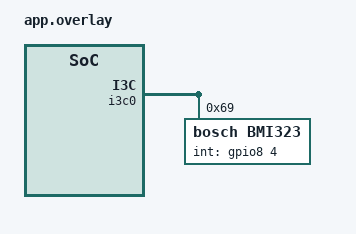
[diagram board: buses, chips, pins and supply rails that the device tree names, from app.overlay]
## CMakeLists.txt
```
# Copyright (c) 2026 Samuel (Shu-Ming) Liu
# SPDX-License-Identifier: Apache-2.0

cmake_minimum_required(VERSION 3.20.0)

find_package(Zephyr REQUIRED HINTS $ENV{ZEPHYR_BASE})
project(sensor_imu)

target_sources(app PRIVATE src/main.c)
```

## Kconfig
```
# Copyright (c) 2026 Samuel (Shu-Ming) Liu
# SPDX-License-Identifier: Apache-2.0

mainmenu "Alif Ensemble E8 - 08 Sensor IMU (BMI323 over I3C)"

config HAS_SEGGER_RTT
	default y

source "Kconfig.zephyr"
```

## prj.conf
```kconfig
# Copyright (c) 2026 Samuel (Shu-Ming) Liu
# SPDX-License-Identifier: Apache-2.0

# System & Stack
CONFIG_MAIN_STACK_SIZE=4096
CONFIG_SYSTEM_WORKQUEUE_STACK_SIZE=2048

# SEGGER RTT Real-Time Console (Zero-Latency SW4=UART2 Switchless)
CONFIG_PRINTK=y
CONFIG_SERIAL=y
CONFIG_CONSOLE=y
CONFIG_USE_SEGGER_RTT=y
CONFIG_RTT_CONSOLE=y
CONFIG_UART_CONSOLE=n
CONFIG_STDOUT_CONSOLE=y

# Guard: Disable Ethos-U NPU to prevent undefined log level errors
CONFIG_ARM_ETHOS_U=n

# Floating Point Unit & Math Support
CONFIG_FPU=y
CONFIG_CBPRINTF_FP_SUPPORT=y

# GPIO for RGB LED Telemetry
CONFIG_GPIO=y
CONFIG_CLOCK_CONTROL=y

# I3C Controller & Bosch BMI323 6-Axis IMU Driver
CONFIG_I3C=y
CONFIG_I3C_INIT_RSTACT=y
CONFIG_I3C_USE_IBI=n
CONFIG_SENSOR=y
```

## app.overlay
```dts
/*
 * Copyright (c) 2026 Samuel (Shu-Ming) Liu
 * SPDX-License-Identifier: Apache-2.0
 *
 * Devicetree overlay for Bosch BMI323 6-Axis IMU on Alif Ensemble E8 DevKit
 */

#include <zephyr/dt-bindings/pinctrl/ensemble-pinctrl.h>

&i3c0 {
	status = "okay";

	bmi323: bmi323@69000003b810431000 {
		compatible = "bosch,bmi323";
		reg = <0x69 0x03b8 0x10431000>;
		/* Dynamic Address To Be Assigned To The Device */
		assigned-address = <0xA>;
		int-gpios = <&gpio8 4 GPIO_ACTIVE_HIGH>;
		status = "okay";
	};
};

&pinctrl_gpio8 {
	group0 {
		/* Enable Port-8 Pin-4 for BMI323 INT */
		pinmux = <PIN_P8_4__GPIO>;
	};
};

&gpio8 {
	pinctrl-0 = <&pinctrl_gpio8>;
	pinctrl-names = "default";
	status = "okay";
};

/* I3C bus recovery (scl-gpios / sda-gpios on gpio7) */
&gpio7 {
	status = "okay";
};

/* Enable Port 6 for onboard RGB LED (LED1_R: P6_2, LED1_G: P6_4, LED1_B: P6_6) */
&gpio6 {
	status = "okay";
};
```

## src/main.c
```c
/*
 * Copyright (c) 2026 Samuel (Shu-Ming) Liu
 * SPDX-License-Identifier: Apache-2.0
 *
 * Example 08: Alif Ensemble E8 - Bosch BMI323 6-Axis IMU over I3C
 *
 * Features:
 *  - I3C Bus Master communication with onboard Bosch BMI323 (dynamic address 0xA)
 *  - High-speed 3-axis Accelerometer & 3-axis Gyroscope sampling (100 Hz)
 *  - Cortex-M55 FPU-accelerated 3D Attitude Estimation (Pitch & Roll)
 *  - Dynamic On-board RGB LED attitude indicator (Level=Green, Pitch=Red, Roll=Blue, Motion=Flash)
 *  - Zero-latency SEGGER RTT Console output at 0x20000410 (JTAG, 4000 kHz)
 *  - Interactive RTT keyboard commands ('c': tare/zero, 'r': reset cal, 'm': toggle mode, 'h': help)
 */

#include <stdio.h>
#include <string.h>
#include <math.h>
#include <zephyr/kernel.h>
#include <zephyr/device.h>
#include <zephyr/drivers/sensor.h>
#include <zephyr/drivers/gpio.h>
#include <SEGGER_RTT.h>

#ifndef M_PI
#define M_PI 3.14159265358979323846f
#endif

#define RAD_TO_DEG (180.0f / M_PI)

/* Onboard RGB LED (Port 6: LED1_R=Pin 2, LED1_G=Pin 4, LED1_B=Pin 6) */
#define PIN_LED_R 2
#define PIN_LED_G 4
#define PIN_LED_B 6

static const struct device *gpio6_dev = DEVICE_DT_GET(DT_NODELABEL(gpio6));
static const struct device *imu_dev   = DEVICE_DT_GET_ONE(bosch_bmi323);

/* RGB LED Helper */
static inline void set_rgb(int r, int g, int b)
{
	if (gpio6_dev && device_is_ready(gpio6_dev)) {
		gpio_pin_set(gpio6_dev, PIN_LED_R, r ? 1 : 0);
		gpio_pin_set(gpio6_dev, PIN_LED_G, g ? 1 : 0);
		gpio_pin_set(gpio6_dev, PIN_LED_B, b ? 1 : 0);
	}
}

/* Helper to convert sensor_value struct to float */
static inline float to_float(const struct sensor_value *val)
{
	return (float)val->val1 + ((float)val->val2 / 1000000.0f);
}

/* Configure BMI323 Accelerometer & Gyroscope */
static int configure_bmi323(const struct device *dev)
{
	struct sensor_value full_scale, sampling_freq, feat_mask;
	int ret;

	/* 1. Configure Accelerometer: +/- 2G, 100 Hz, High Performance */
	full_scale.val1 = 2;
	full_scale.val2 = 0;
	sampling_freq.val1 = 100;
	sampling_freq.val2 = 0;
	feat_mask.val1 = 1;
	feat_mask.val2 = 0;

	ret = sensor_attr_set(dev, SENSOR_CHAN_ACCEL_XYZ, SENSOR_ATTR_FULL_SCALE, &full_scale);
	if (ret < 0) {
		printf("Error: Failed to set Accel full scale (%d)\n", ret);
		return ret;
	}

	ret = sensor_attr_set(dev, SENSOR_CHAN_ACCEL_XYZ, SENSOR_ATTR_FEATURE_MASK, &feat_mask);
	if (ret < 0) {
		printf("Error: Failed to set Accel feature mask (%d)\n", ret);
		return ret;
	}

	ret = sensor_attr_set(dev, SENSOR_CHAN_ACCEL_XYZ, SENSOR_ATTR_SAMPLING_FREQUENCY, &sampling_freq);
	if (ret < 0) {
		printf("Error: Failed to set Accel sampling rate (%d)\n", ret);
		return ret;
	}

	/* 2. Configure Gyroscope: +/- 500 dps, 100 Hz, High Performance */
	full_scale.val1 = 500;
	full_scale.val2 = 0;
	sampling_freq.val1 = 100;
	sampling_freq.val2 = 0;
	feat_mask.val1 = 1;
	feat_mask.val2 = 0;

	ret = sensor_attr_set(dev, SENSOR_CHAN_GYRO_XYZ, SENSOR_ATTR_FULL_SCALE, &full_scale);
	if (ret < 0) {
		printf("Error: Failed to set Gyro full scale (%d)\n", ret);
		return ret;
	}

	ret = sensor_attr_set(dev, SENSOR_CHAN_GYRO_XYZ, SENSOR_ATTR_FEATURE_MASK, &feat_mask);
	if (ret < 0) {
		printf("Error: Failed to set Gyro feature mask (%d)\n", ret);
		return ret;
	}

	ret = sensor_attr_set(dev, SENSOR_CHAN_GYRO_XYZ, SENSOR_ATTR_SAMPLING_FREQUENCY, &sampling_freq);
	if (ret < 0) {
		printf("Error: Failed to set Gyro sampling rate (%d)\n", ret);
		return ret;
	}

	return 0;
}

/* Render ASCII Horizon Bar */
static void render_bar(char *buf, size_t buf_len, float angle, float max_angle, int width)
{
	int center = width / 2;
	int pos = center + (int)((angle / max_angle) * (float)center);
	if (pos < 0) pos = 0;
	if (pos >= width) pos = width - 1;

	for (int i = 0; i < width; i++) {
		if (i == pos) {
			buf[i] = '#';
		} else if (i == center) {
			buf[i] = '|';
		} else if ((pos < center && i >= pos && i < center) ||
		           (pos > center && i <= pos && i > center)) {
			buf[i] = '=';
		} else {
			buf[i] = '-';
		}
	}
	buf[width] = '\0';
}

static void print_help(void)
{
	printf("\n===============================================================\n");
	printf("   🕹️  BMI323 6-Axis IMU Interactive Keyboard Commands  🕹️\n");
	printf("===============================================================\n");
	printf("  'c' : Calibrate / Tare current attitude to (0.0°, 0.0°)\n");
	printf("  'r' : Reset attitude calibration to factory zero\n");
	printf("  'm' : Toggle display mode (Compact Stream <-> Horizon Bar)\n");
	printf("  'h' : Display this help menu\n");
	printf("===============================================================\n\n");
}

int main(void)
{
	int ret;
	uint32_t sample_count = 0;
	float pitch_offset = 0.0f;
	float roll_offset = 0.0f;
	bool visual_mode = true;
	char bar_buf[33];

	/* 1. Initialize RGB LED */
	if (gpio6_dev && device_is_ready(gpio6_dev)) {
		gpio_pin_configure(gpio6_dev, PIN_LED_R, GPIO_OUTPUT_INACTIVE);
		gpio_pin_configure(gpio6_dev, PIN_LED_G, GPIO_OUTPUT_INACTIVE);
		gpio_pin_configure(gpio6_dev, PIN_LED_B, GPIO_OUTPUT_INACTIVE);
		set_rgb(0, 0, 0);
	}

	/* Power-on indicator: 3 quick Cyan pulses */
	for (int i = 0; i < 3; i++) {
		set_rgb(0, 1, 1);
		k_msleep(80);
		set_rgb(0, 0, 0);
		k_msleep(80);
	}

	/* 2. Welcome Banner over SEGGER RTT */
	printf("\n\n===============================================================\n");
	printf("🎯 Alif Ensemble E8 - Bosch BMI323 6-Axis IMU over I3C 🎯\n");
	printf(" Target Core  : ARM Cortex-M55 (RTSS-HP @ 400 MHz)\n");
	printf(" Bus Protocol : I3C Master @ 0x49034000 (Dynamic Addr: 0x%02X)\n", 0x0A);
	printf(" RTT Buffer   : Local 0x%p\n", &_SEGGER_RTT);
	printf("===============================================================\n");

	/* 3. Check BMI323 device binding */
	if (!device_is_ready(imu_dev)) {
		printf("FATAL: Bosch BMI323 IMU device is NOT ready!\n");
		set_rgb(1, 0, 0); /* Red solid error */
		return 0;
	}
	printf("✓ BMI323 IMU device bound successfully: %s\n", imu_dev->name);

	/* 4. Configure sensor attributes */
	ret = configure_bmi323(imu_dev);
	if (ret < 0) {
		printf("FATAL: Failed to configure BMI323 attributes (%d)\n", ret);
		set_rgb(1, 0, 0);
		return 0;
	}
	printf("✓ BMI323 Accelerometer & Gyroscope initialized (100 Hz, HP mode)\n");
	print_help();

	while (1) {
		struct sensor_value acc[3], gyr[3], temp;
		int retries = 10;

		/* Check interactive keystrokes from J-Link RTT Viewer */
		if (SEGGER_RTT_HasKey()) {
			int key = SEGGER_RTT_GetKey();
			switch (key) {
			case 'c':
			case 'C': {
				/* Fetch fresh sample to calculate tare offset */
				sensor_sample_fetch(imu_dev);
				sensor_channel_get(imu_dev, SENSOR_CHAN_ACCEL_XYZ, acc);
				float ax = to_float(&acc[0]);
				float ay = to_float(&acc[1]);
				float az = to_float(&acc[2]);
				pitch_offset = atan2f(ax, sqrtf(ay * ay + az * az)) * RAD_TO_DEG;
				roll_offset  = atan2f(ay, az) * RAD_TO_DEG;
				printf("\n>>> [TARE] Calibration set! Pitch offset: %+.2f°, Roll offset: %+.2f° <<<\n\n",
				       pitch_offset, roll_offset);
				set_rgb(1, 1, 0); /* Yellow flash */
				k_msleep(150);
				break;
			}
			case 'r':
			case 'R':
				pitch_offset = 0.0f;
				roll_offset  = 0.0f;
				printf("\n>>> [RESET] Calibration reset to zero <<<\n\n");
				set_rgb(1, 0, 1); /* Magenta flash */
				k_msleep(150);
				break;
			case 'm':
			case 'M':
				visual_mode = !visual_mode;
				printf("\n>>> [MODE] Switched to %s mode <<<\n\n",
				       visual_mode ? "Visual Horizon Bar" : "Compact Telemetry Stream");
				break;
			case 'h':
			case 'H':
				print_help();
				break;
			default:
				break;
			}
		}

		/* Fetch sample with retry for DRDY */
		do {
			ret = sensor_sample_fetch(imu_dev);
			if (ret != -ENODATA) {
				break;
			}
			k_msleep(10);
		} while (--retries);

		if (ret < 0) {
			printf("Warning: Sensor fetch failed (%d)\n", ret);
			k_msleep(100);
			continue;
		}

		sensor_channel_get(imu_dev, SENSOR_CHAN_ACCEL_XYZ, acc);
		sensor_channel_get(imu_dev, SENSOR_CHAN_GYRO_XYZ, gyr);
		sensor_channel_get(imu_dev, SENSOR_CHAN_DIE_TEMP, &temp);

		float ax = to_float(&acc[0]);
		float ay = to_float(&acc[1]);
		float az = to_float(&acc[2]);

		float gx = to_float(&gyr[0]);
		float gy = to_float(&gyr[1]);
		float gz = to_float(&gyr[2]);

		float die_temp = to_float(&temp);

		/* 3D Attitude Estimation */
		float pitch = (atan2f(ax, sqrtf(ay * ay + az * az)) * RAD_TO_DEG) - pitch_offset;
		float roll  = (atan2f(ay, az) * RAD_TO_DEG) - roll_offset;

		/* Angular velocity magnitude */
		float gyro_mag = sqrtf(gx * gx + gy * gy + gz * gz);

		/* Attitude classification & RGB LED feedback */
		const float DEAD_ZONE = 6.0f; /* Degrees */
		bool is_level = (fabsf(pitch) < DEAD_ZONE) && (fabsf(roll) < DEAD_ZONE);
		bool is_moving = (gyro_mag > 40.0f);

		if (is_moving) {
			/* High dynamic rotation: Flash White */
			set_rgb(1, 1, 1);
		} else if (is_level) {
			/* Horizon level: Solid Green */
			set_rgb(0, 1, 0);
		} else {
			/* Tilted: Red for Pitch, Blue for Roll, Magenta for both */
			int r = (fabsf(pitch) >= DEAD_ZONE) ? 1 : 0;
			int b = (fabsf(roll) >= DEAD_ZONE) ? 1 : 0;
			set_rgb(r, 0, b);
		}

		sample_count++;

		if (visual_mode) {
			/* Visual ASCII Horizon Bar */
			render_bar(bar_buf, sizeof(bar_buf) - 1, pitch, 45.0f, 31);
			printf("[#%04u] Pitch %s %+.1f°  | Acc: [%+.2f, %+.2f, %+.2f]g\n",
			       sample_count, bar_buf, pitch, ax, ay, az);

			render_bar(bar_buf, sizeof(bar_buf) - 1, roll, 45.0f, 31);
			printf("        Roll  %s %+.1f°  | Gyr: [%+.1f, %+.1f, %+.1f]°/s | T: %.1f°C | %s\n\n",
			       bar_buf, roll, gx, gy, gz, die_temp,
			       is_level ? "[LEVEL 🟢]" : "[TILTED 🔴]");
		} else {
			/* Compact Telemetry Line */
			printf("[IMU #%04u] P:%+05.1f° R:%+05.1f° | A:[%+0.2f,%+0.2f,%+0.2f]g | G:[%+05.1f,%+05.1f,%+05.1f]°/s | T:%4.1f°C | %s\n",
			       sample_count, pitch, roll, ax, ay, az, gx, gy, gz, die_temp,
			       is_level ? "LEVEL" : (fabsf(pitch) > fabsf(roll) ? "PITCH" : "ROLL"));
		}

		k_msleep(100); /* 10 Hz telemetry refresh */
	}

	return 0;
}
```
